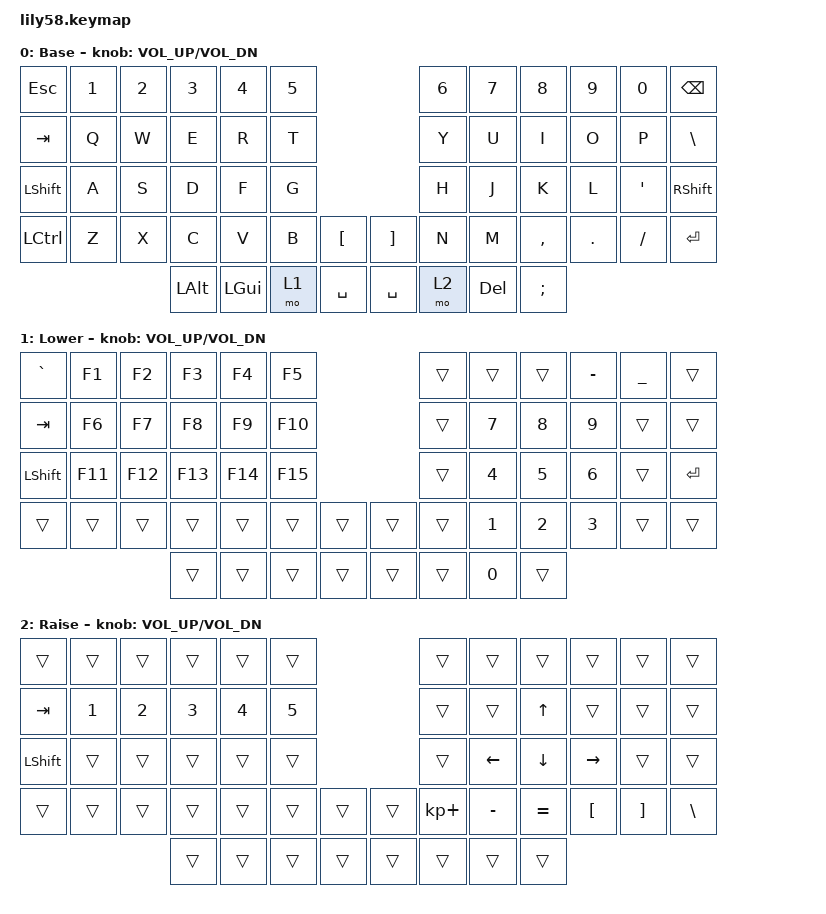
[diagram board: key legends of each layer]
/*
 * Copyright (c) 2020 The ZMK Contributors
 *
 * SPDX-License-Identifier: MIT
 */

#include <behaviors.dtsi>
#include <dt-bindings/zmk/keys.h>

/ {
    keymap {
        compatible = "zmk,keymap";

        default_layer {
            // ------------------------------------------------------------------------------------------------------------
            // |  ESC  |  1  |  2  |  3   |  4   |  5   |                   |  6   |  7    |  8    |  9   |   0   |   `   |
            // |  TAB  |  Q  |  W  |  E   |  R   |  T   |                   |  Y   |  U    |  I    |  O   |   P   |   -   |
            // |  CTRL |  A  |  S  |  D   |  F   |  G   |                   |  H   |  J    |  K    |  L   |   ;   |   '   |
            // | SHIFT |  Z  |  X  |  C   |  V   |  B   |   "["  |  |  "]"  |  N   |  M    |  ,    |  .   |   /   | SHIFT |
            //                     | ALT  | GUI  | LOWER|  SPACE |  | ENTER | RAISE| BSPC  | GUI   |

            label = "Base";
            bindings = <
&kp ESC           &kp N1  &kp N2  &kp N3    &kp N4    &kp N5                          &kp N6  &kp N7      &kp N8     &kp N9   &kp N0          &kp BACKSPACE
&kp TAB           &kp Q   &kp W   &kp E     &kp R     &kp T                           &kp Y   &kp U       &kp I      &kp O    &kp P           &kp BACKSLASH
&kp LEFT_SHIFT    &kp A   &kp S   &kp D     &kp F     &kp G                           &kp H   &kp J       &kp K      &kp L    &kp APOSTROPHE  &kp RIGHT_SHIFT
&kp LEFT_CONTROL  &kp Z   &kp X   &kp C     &kp V     &kp B   &kp LBKT     &kp RBKT   &kp N   &kp M       &kp COMMA  &kp DOT  &kp FSLH        &kp ENTER
                                  &kp LALT  &kp LGUI  &mo 1   &kp SPACE    &kp SPACE  &mo 2   &kp DELETE  &kp SEMI
            >;

            sensor-bindings = <&inc_dec_kp C_VOL_UP C_VOL_DN>;
        };

        lower_layer {
            // ------------------------------------------------------------------------------------------------------------
            // | BTCLR | BT1 | BT2 |  BT3 |  BT4 |  BT5 |                   |      |       |       |      |       |       |
            // |  F1   |  F2 |  F3 |  F4  |  F5  |  F6  |                   |  F7  |  F8   |  F9   |  F10 |  F11  |  F12  |
            // |   `   |  !  |  @  |  #   |  $   |  %   |                   |  ^   |  &    |  *    |  (   |   )   |   ~   |
            // |       |     |     |      |      |      |        |  |       |      |  _    |  +    |  {   |   }   |  "|"  |
            //                     |      |      |      |        |  |       |      |       |       |

            label = "Lower";
            bindings = <
&kp GRAVE       &kp F1   &kp F2   &kp F3   &kp F4   &kp F5                     &trans  &trans        &trans        &kp MINUS     &kp UNDER  &trans
&kp TAB         &kp F6   &kp F7   &kp F8   &kp F9   &kp F10                    &trans  &kp N7        &kp N8        &kp NUMBER_9  &trans     &trans
&kp LEFT_SHIFT  &kp F11  &kp F12  &kp F13  &kp F14  &kp F15                    &trans  &kp NUMBER_4  &kp N5        &kp NUMBER_6  &trans     &kp ENTER
&trans          &trans   &trans   &trans   &trans   &trans   &trans    &trans  &trans  &kp NUMBER_1  &kp NUMBER_2  &kp NUMBER_3  &trans     &trans
                                  &trans   &trans   &trans   &trans    &trans  &trans  &kp N0        &trans
            >;

            sensor-bindings = <&inc_dec_kp C_VOL_UP C_VOL_DN>;
        };

        raise_layer {
            // ------------------------------------------------------------------------------------------------------------
            // |       |     |     |      |      |      |                   |      |       |       |      |       |       |
            // |   `   |  1  |  2  |  3   |  4   |  5   |                   |  6   |   7   |   8   |  9   |   0   |       |
            // |   F1  |  F2 |  F3 |  F4  |  F5  |  F6  |                   |      |   <-  |   v   |  ^   |  ->   |       |
            // |   F7  |  F8 |  F9 |  F10 |  F11 |  F12 |        |  |       |  +   |   -   |   =   |  [   |   ]   |   \   |
            //                     |      |      |      |        |  |       |      |       |       |

            label = "Raise";
            bindings = <
&trans          &trans  &trans  &trans  &trans  &trans                    &trans       &trans     &trans        &trans     &trans    &trans
&kp TAB         &kp N1  &kp N2  &kp N3  &kp N4  &kp N5                    &trans       &trans     &kp UP_ARROW  &trans     &trans    &trans
&kp LEFT_SHIFT  &trans  &trans  &trans  &trans  &trans                    &trans       &kp LEFT   &kp DOWN      &kp RIGHT  &trans    &trans
&trans          &trans  &trans  &trans  &trans  &trans  &trans    &trans  &kp KP_PLUS  &kp MINUS  &kp EQUAL     &kp LBKT   &kp RBKT  &kp BSLH
                                &trans  &trans  &trans  &trans    &trans  &trans       &trans     &trans
            >;

            sensor-bindings = <&inc_dec_kp C_VOL_UP C_VOL_DN>;
        };
    };
};
